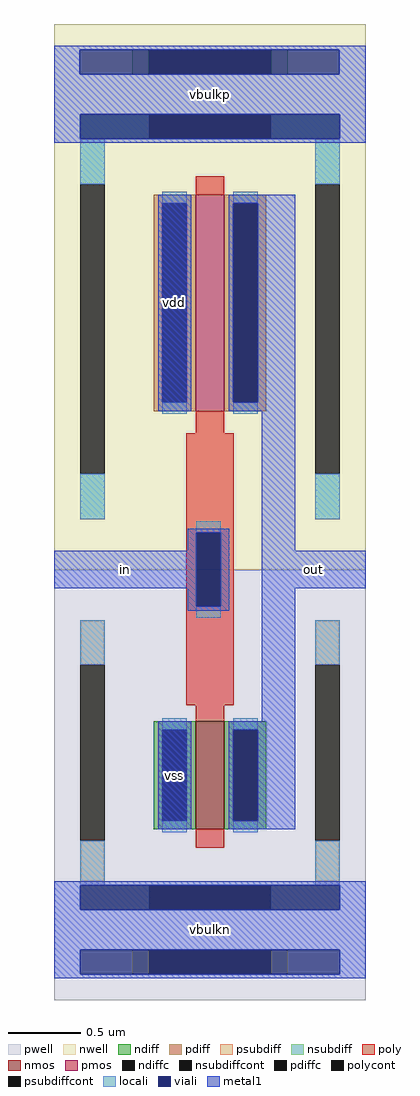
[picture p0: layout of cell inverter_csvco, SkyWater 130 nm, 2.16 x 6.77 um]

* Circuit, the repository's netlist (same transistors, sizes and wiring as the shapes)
**.subckt inverter_csvco vss in out vdd vbulkn vbulkp
*.iopin vss
*.ipin in
*.opin out
*.iopin vdd
*.iopin vbulkn
*.iopin vbulkp
XM1 out in vss vbulkn sky130_fd_pr__nfet_01v8 L=0.2 W=0.75 nf=1 ad='int((nf+1)/2) * W/nf * 0.29' as='int((nf+2)/2) * W/nf * 0.29'
+ pd='2*int((nf+1)/2) * (W/nf + 0.29)' ps='2*int((nf+2)/2) * (W/nf + 0.29)' nrd='0.29 / W' nrs='0.29 / W'
+ sa=0 sb=0 sd=0 mult=1 m=1 
XM2 out in vdd vbulkp sky130_fd_pr__pfet_01v8 L=0.2 W=1.5 nf=1 ad='int((nf+1)/2) * W/nf * 0.29' as='int((nf+2)/2) * W/nf * 0.29'
+ pd='2*int((nf+1)/2) * (W/nf + 0.29)' ps='2*int((nf+2)/2) * (W/nf + 0.29)' nrd='0.29 / W' nrs='0.29 / W'
+ sa=0 sb=0 sd=0 mult=1 m=1 
**.ends
** flattened .save nodes
.end

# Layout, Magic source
magic
tech sky130A
magscale 1 2
<< nwell >>
rect 0 668 432 757
rect 197 47 231 131
<< pwell >>
rect 0 -508 430 -438
rect 0 -597 432 -508
<< psubdiff >>
rect 108 -561 132 -527
rect 300 -561 324 -527
<< nsubdiff >>
rect 108 687 132 721
rect 300 687 324 721
<< psubdiffcont >>
rect 132 -561 300 -527
<< nsubdiffcont >>
rect 132 687 300 721
<< poly >>
rect 183 51 249 131
rect 183 -51 197 51
rect 231 -51 249 51
rect 183 -122 249 -51
<< polycont >>
rect 197 -51 231 51
<< locali >>
rect 197 51 231 67
rect 197 -67 231 -51
<< viali >>
rect 35 687 132 721
rect 132 687 300 721
rect 300 687 395 721
rect 36 598 396 632
rect 197 -51 231 51
rect 36 -472 396 -438
rect 36 -561 132 -527
rect 132 -561 300 -527
rect 300 -561 396 -527
<< metal1 >>
rect 0 721 432 727
rect 0 687 35 721
rect 395 687 432 721
rect 0 632 432 687
rect 0 598 36 632
rect 396 598 432 632
rect 0 592 432 598
rect 144 220 190 520
rect 185 51 243 57
rect 185 26 197 51
rect 0 -26 197 26
rect 185 -51 197 -26
rect 231 -51 243 51
rect 185 -57 243 -51
rect 288 26 334 520
rect 288 -26 432 26
rect 144 -360 190 -210
rect 288 -360 334 -26
rect 0 -438 432 -432
rect 0 -472 36 -438
rect 396 -472 432 -438
rect 0 -527 432 -472
rect 0 -561 36 -527
rect 396 -561 432 -527
rect 0 -567 432 -561
use sky130_fd_pr__nfet_01v8_AQR2CW  sky130_fd_pr__nfet_01v8_AQR2CW_0
transform 1 0 216 0 1 -254
box -216 -254 216 254
use sky130_fd_pr__pfet_01v8_HRYSXS  sky130_fd_pr__pfet_01v8_HRYSXS_0
transform 1 0 216 0 1 334
box -216 -334 216 334
<< labels >>
rlabel metal1 0 -26 197 26 1 in
rlabel metal1 288 -26 432 26 1 out
rlabel metal1 0 632 432 687 1 vbulkp
rlabel metal1 0 -527 432 -472 1 vbulkn
rlabel metal1 144 220 190 520 1 vdd
rlabel metal1 144 -360 190 -210 1 vss
<< end >>

# cell sky130_fd_pr__nfet_01v8_AQR2CW: kit device sky130_fd_pr__nfet_01v8, w 0.75 l 0.2 m 1 nf 1 diffcov 100 polycov 100 guard 1 glc 1 grc 1 gtc 0 gbc 1 tbcov 100 rlcov 100 topc 1 botc 0 poverlap 0 doverlap 1 lmin 0.15 wmin 0.42 compatible {sky130_fd_pr__nfet_01v8 sky130_fd_pr__nfet_01v8_lvt sky130_fd_bs_flash__special_sonosfet_star sky130_fd_pr__nfet_g5v0d10v5 sky130_fd_pr__nfet_05v0_nvt sky130_fd_pr__nfet_03v3_nvt} full_metal 1 viasrc 100 viadrn 100 viagate 100 viagb 0 viagr 0 viagl 0 viagt 0

# cell sky130_fd_pr__pfet_01v8_HRYSXS: kit device sky130_fd_pr__pfet_01v8, w 1.5 l 0.2 m 1 nf 1 diffcov 100 polycov 100 guard 1 glc 1 grc 1 gtc 1 gbc 0 tbcov 100 rlcov 100 topc 0 botc 1 poverlap 0 doverlap 1 lmin 0.15 wmin 0.42 compatible {sky130_fd_pr__pfet_01v8 sky130_fd_pr__pfet_01v8_lvt sky130_fd_pr__pfet_01v8_hvt sky130_fd_pr__pfet_g5v0d10v5} full_metal 1 viasrc 100 viadrn 100 viagate 100 viagb 0 viagr 0 viagl 0 viagt 0
